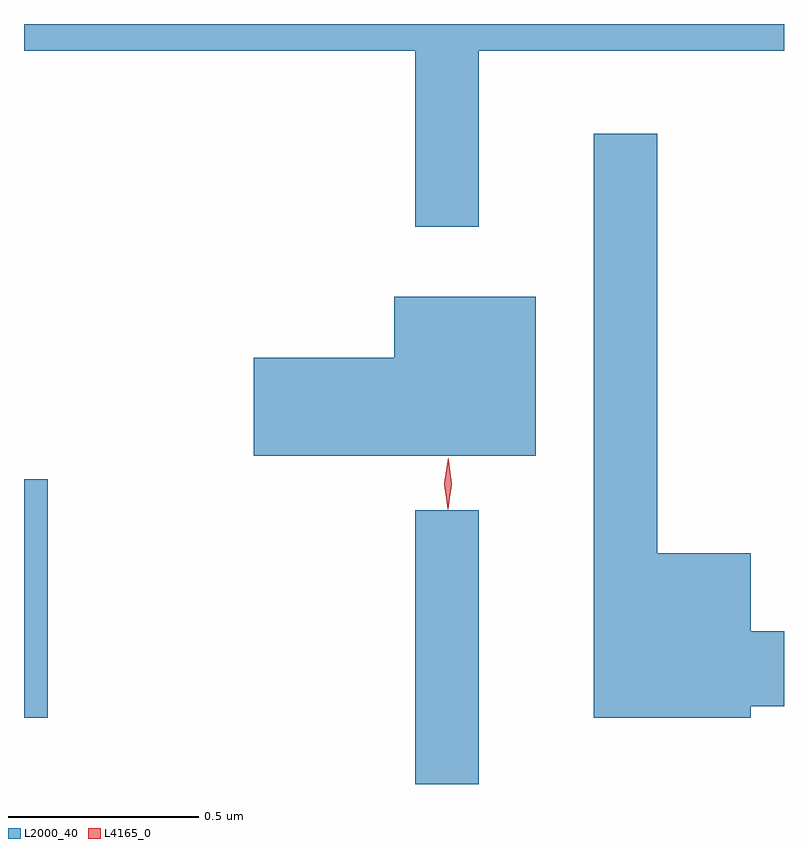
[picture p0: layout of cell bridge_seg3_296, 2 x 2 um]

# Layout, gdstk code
import gdstk
lib = gdstk.Library(unit=1e-6, precision=1e-09)
def R(c, l, rs):  # rectangles x0, y0, x1, y1
    for r in rs: c.add(gdstk.rectangle(r[:2], r[2:], *l))
def P(c, l, *ps):  # polygons
    for p in ps: c.add(gdstk.Polygon(p, *l))
L2000_40 = (2000, 40)
L4165_0 = (4165, 0)

bridge_seg3_296 = lib.new_cell('bridge_seg3_296')
R(bridge_seg3_296, L2000_40, [(1068.201,1124.087,1068.369,1124.808), (1067.172,1124.261,1067.234,1124.889)])
P(bridge_seg3_296, L2000_40, [(1068.369,1126.016),(1069.172,1126.016),(1069.172,1126.087),(1067.172,1126.087),(1067.172,1126.016),(1068.201,1126.016),(1068.201,1125.553),(1068.369,1125.553)],
  [(1069.084,1124.291),(1069.172,1124.291),(1069.172,1124.489),(1069.084,1124.489),(1069.084,1124.694),(1068.839,1124.694),(1068.839,1125.798),(1068.671,1125.798),(1068.671,1124.261),(1069.084,1124.261)],
  [(1068.519,1125.369),(1068.146,1125.369),(1068.146,1125.209),(1067.776,1125.209),(1067.776,1124.951),(1068.519,1124.951)])
P(bridge_seg3_296, L4165_0, [(1068.287,1124.813),(1068.287,1124.813),(1068.278,1124.876),(1068.289,1124.939),(1068.289,1124.94),(1068.29,1124.939),(1068.298,1124.876),(1068.288,1124.813)],
  [(1068.287,1124.81),(1068.287,1124.81),(1068.278,1124.878),(1068.288,1124.946),(1068.289,1124.946),(1068.289,1124.946),(1068.298,1124.878),(1068.288,1124.81)])

lib.write_gds('bridge_seg3_296.gds')
